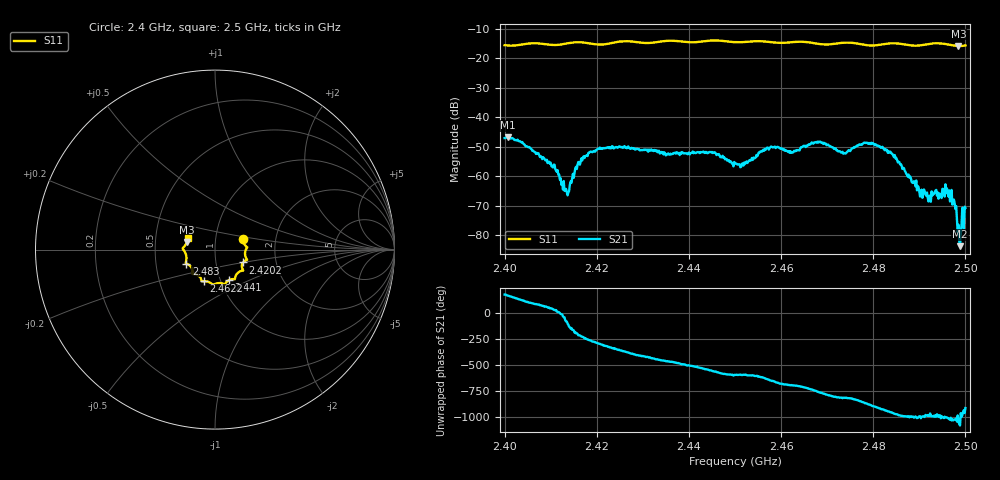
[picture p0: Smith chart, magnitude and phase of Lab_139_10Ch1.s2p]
# Hz S RI R 50
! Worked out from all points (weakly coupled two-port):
!   601 points, 2.4 GHz to 2.5 GHz, reference 50 ohm
!   highest |S21| = -46.80 dB at 2.4007 GHz (marker M1); lowest = -83.7 dB at 2.4988 GHz (marker M2)
!   lowest |S11| = -15.8 dB at 2.4985 GHz (marker M3), VSWR 1.39, Z = 36.4 + j3.15 ohm
!   |S11| at or under -10 dB: start of sweep to end of sweep
!   S12 and S22 are empty: the file has one direction only
!   S11 on the Smith chart (normalised r, x): 2.4 GHz: 1.36, +0.17; 2.4202 GHz: 1.35, -0.20; 2.441 GHz: 1.09, -0.39; 2.4622 GHz: 0.83, -0.30; 2.483 GHz: 0.72, -0.12; 2.5 GHz: 0.73, +0.09
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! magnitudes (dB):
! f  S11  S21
! 2.4 GHz  -15.5  -47.1
! 2.4007 GHz  -15.7  -46.8
! 2.4103 GHz  -15.5  -56.7
! 2.4135 GHz  -14.9  -65.5
! 2.4167 GHz  -14.6  -53.9
! 2.4202 GHz  -15.3  -50.8
! 2.4333 GHz  -14.4  -51.8
! 2.441 GHz  -14.6  -52.2
! 2.45 GHz  -14.5  -55.7
! 2.4582 GHz  -14.6  -50.2
! 2.4622 GHz  -14.5  -52.0
! 2.4667 GHz  -14.7  -48.5
! 2.4735 GHz  -14.7  -52.4
! 2.4785 GHz  -15.5  -48.7
! 2.483 GHz  -15.0  -51.1
! 2.4833 GHz  -15.0  -51.6
! 2.4903 GHz  -15.6  -65.1
! 2.4965 GHz  -15.4  -64.8
! 2.4975 GHz  -15.7  -67.9
! 2.4985 GHz  -15.8  -76.5
! 2.4988 GHz  -15.8  -83.7
! 2.5 GHz  -15.6  -70.8
